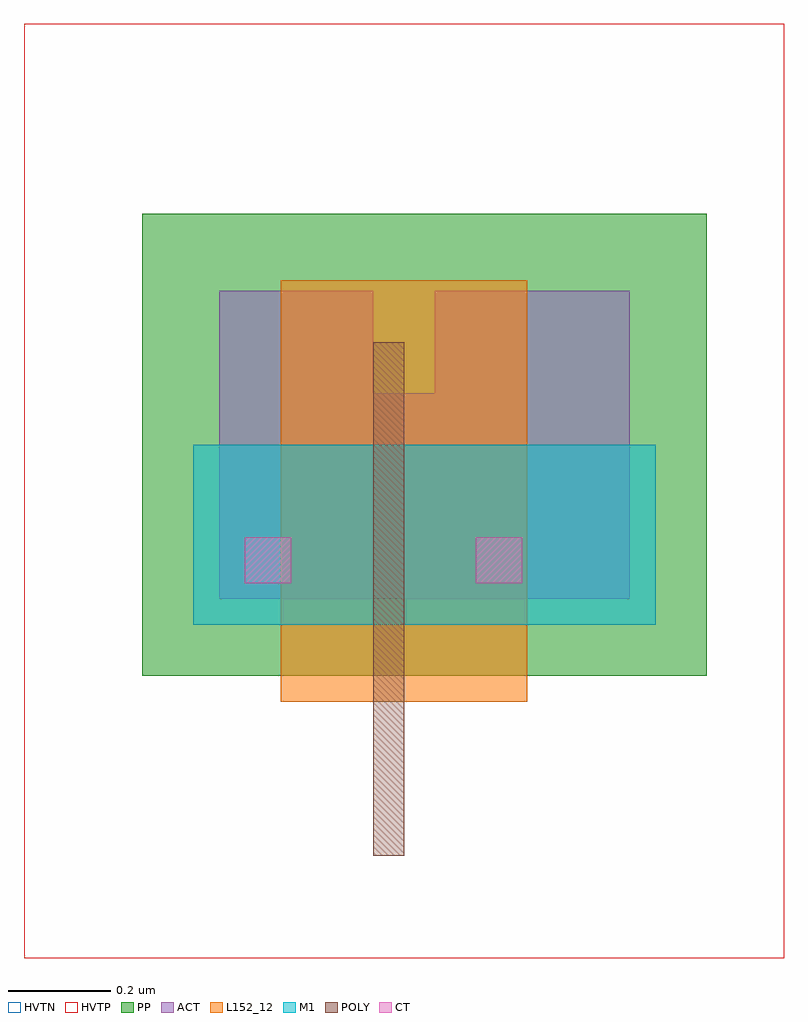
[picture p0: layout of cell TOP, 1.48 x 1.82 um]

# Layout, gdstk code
import gdstk
lib = gdstk.Library(unit=1e-6, precision=1e-09)
def R(c, l, rs):  # rectangles x0, y0, x1, y1
    for r in rs: c.add(gdstk.rectangle(r[:2], r[2:], *l))
def P(c, l, *ps):  # polygons
    for p in ps: c.add(gdstk.Polygon(p, *l))
ACT = (2, 1)
HVTN = (21, 1)
HVTP = (22, 1)
POLY = (41, 1)
PP = (53, 1)
CT = (72, 1)
M1 = (81, 1)
L152_12 = (152, 12)

top = lib.new_cell('TOP')
P(top, ACT, [(0,0),(0,0.6),(0.3,0.6),(0.3,0.4),(0.42,0.4),(0.42,0.6),(0.8,0.6),(0.8,0)])
R(top, HVTN, [(-0.38,-0.7,1.1,1.12)])
R(top, HVTP, [(-0.38,-0.7,1.1,1.12)])
R(top, POLY, [(0.3,-0.5,0.36,0.5)])
R(top, PP, [(-0.15,-0.15,0.95,0.75)])
R(top, CT, [(0.05,0.03,0.14,0.12), (0.5,0.03,0.59,0.12)])
R(top, M1, [(-0.05,-0.05,0.85,0.3)])
R(top, L152_12, [(0.12,-0.2,0.6,0.62)])

lib.write_gds('TOP.gds')
